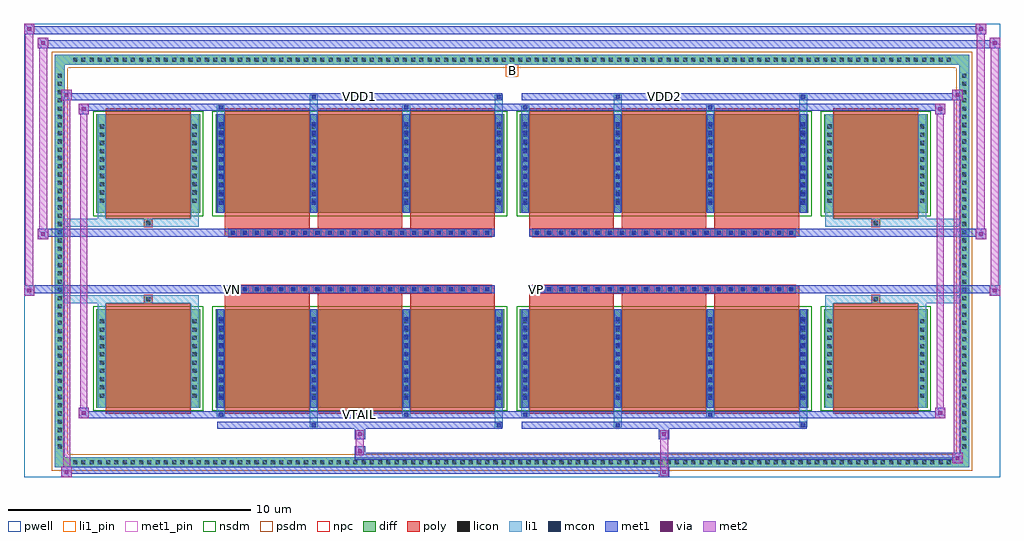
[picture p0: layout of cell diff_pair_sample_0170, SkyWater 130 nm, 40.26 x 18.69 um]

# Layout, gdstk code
import gdstk
lib = gdstk.Library(unit=1e-6, precision=5e-09)
def R(c, l, rs):  # rectangles x0, y0, x1, y1
    for r in rs: c.add(gdstk.rectangle(r[:2], r[2:], *l))
def A(c, l, x, y, w, h, nx, ny, dx, dy):  # array of equal rectangles
    R(c, l, [(x+i*dx, y+j*dy, x+i*dx+w, y+j*dy+h) for i in range(nx) for j in range(ny)])
def P(c, l, *ps):  # polygons
    for p in ps: c.add(gdstk.Polygon(p, *l))
pwell = (64, 44)
diff = (65, 20)
poly = (66, 20)
licon = (66, 44)
li1_pin = (67, 16)
li1 = (67, 20)
mcon = (67, 44)
met1_pin = (68, 16)
met1 = (68, 20)
via = (68, 44)
met2 = (69, 20)
nsdm = (93, 44)
psdm = (94, 20)
npc = (95, 20)

diff_pair_sample_0170 = lib.new_cell('diff_pair_sample_0170')
R(diff_pair_sample_0170, pwell, [(-20.13,-8.91,20.13,9.78), (-17.45,-7.1,-0.01,-0.8), (0.01,-7.1,17.45,-0.8), (-17.45,0.8,-0.01,7.1), (0.01,0.8,17.45,7.1)])
A(diff_pair_sample_0170, diff, -18.225, -8.51, 0.41, 0.41, 107, 2, 0.34, 16.61)
A(diff_pair_sample_0170, diff, -18.86, -7.855, 0.41, 0.41, 1, 46, 0, 0.34)
A(diff_pair_sample_0170, diff, 18.45, -7.855, 0.41, 0.41, 1, 46, 0, 0.34)
R(diff_pair_sample_0170, diff, [(-18.225,-8.51,18.225,-8.1), (-18.86,-7.855,-18.45,7.855), (18.45,-7.855,18.86,7.855), (-17.14,-6.055,-12.87,-1.985), (-12.23,-6.055,-0.32,-1.985), (0.32,-6.055,12.23,-1.985), (12.87,-6.055,17.14,-1.985), (-17.14,1.985,-12.87,6.055), (-12.23,1.985,-0.32,6.055), (0.32,1.985,12.23,6.055), (12.87,1.985,17.14,6.055), (-18.225,8.1,18.225,8.51)])
P(diff_pair_sample_0170, diff, [(18.86,8.51),(-18.86,8.51),(-18.86,-8.1),(-18.45,-8.1),(-18.45,8.1),(18.45,8.1),(18.45,-8.1),(-18.45,-8.1),(-18.86,-8.1),(-18.86,-8.51),(18.86,-8.51)])
A(diff_pair_sample_0170, poly, -11.84, -6.305, 3.49, 4.57, 3, 2, 3.82, 8.04)
A(diff_pair_sample_0170, poly, 0.71, -6.305, 3.49, 4.57, 3, 2, 3.82, 8.04)
A(diff_pair_sample_0170, poly, -11.84, -1.735, 3.49, 0.405, 3, 2, 3.82, 3.065)
A(diff_pair_sample_0170, poly, 0.71, -1.735, 3.49, 0.405, 3, 2, 3.82, 3.065)
A(diff_pair_sample_0170, poly, -11.69, -1.33, 0.33, 0.33, 22, 2, 0.5, 2.33)
A(diff_pair_sample_0170, poly, 0.86, -1.33, 0.33, 0.33, 22, 2, 0.5, 2.33)
R(diff_pair_sample_0170, poly, [(-16.75,-6.305,-13.26,-1.735), (13.26,-6.305,16.75,-1.735), (-15.17,-1.735,-14.84,-1.405), (-15.17,-1.735,-14.84,-1.405), (14.84,-1.735,15.17,-1.405), (14.84,-1.735,15.17,-1.405), (-11.84,-1.33,-0.71,-1), (0.71,-1.33,11.84,-1), (-11.84,1,-0.71,1.33), (0.71,1,11.84,1.33), (-15.17,1.405,-14.84,1.735), (-15.17,1.405,-14.84,1.735), (14.84,1.405,15.17,1.735), (14.84,1.405,15.17,1.735), (-16.75,1.735,-13.26,6.305), (13.26,1.735,16.75,6.305)])
A(diff_pair_sample_0170, licon, -18.105, -8.39, 0.17, 0.17, 107, 2, 0.34, 16.61)
A(diff_pair_sample_0170, licon, -18.74, -7.735, 0.17, 0.17, 1, 46, 0, 0.34)
A(diff_pair_sample_0170, licon, 18.57, -7.735, 0.17, 0.17, 1, 46, 0, 0.34)
A(diff_pair_sample_0170, licon, -17, -5.635, 0.17, 0.17, 1, 10, 0, 0.34)
A(diff_pair_sample_0170, licon, -13.18, -5.635, 0.17, 0.17, 1, 10, 0, 0.34)
A(diff_pair_sample_0170, licon, -12.09, -5.635, 0.17, 0.17, 4, 10, 3.82, 0.34)
A(diff_pair_sample_0170, licon, 0.46, -5.635, 0.17, 0.17, 4, 10, 3.82, 0.34)
A(diff_pair_sample_0170, licon, 13.01, -5.635, 0.17, 0.17, 1, 10, 0, 0.34)
A(diff_pair_sample_0170, licon, 16.83, -5.635, 0.17, 0.17, 1, 10, 0, 0.34)
A(diff_pair_sample_0170, licon, -11.61, -1.25, 0.17, 0.17, 22, 2, 0.5, 2.33)
A(diff_pair_sample_0170, licon, 0.94, -1.25, 0.17, 0.17, 22, 2, 0.5, 2.33)
A(diff_pair_sample_0170, licon, -17, 2.405, 0.17, 0.17, 1, 10, 0, 0.34)
A(diff_pair_sample_0170, licon, -13.18, 2.405, 0.17, 0.17, 1, 10, 0, 0.34)
A(diff_pair_sample_0170, licon, -12.09, 2.405, 0.17, 0.17, 4, 10, 3.82, 0.34)
A(diff_pair_sample_0170, licon, 0.46, 2.405, 0.17, 0.17, 4, 10, 3.82, 0.34)
A(diff_pair_sample_0170, licon, 13.01, 2.405, 0.17, 0.17, 1, 10, 0, 0.34)
A(diff_pair_sample_0170, licon, 16.83, 2.405, 0.17, 0.17, 1, 10, 0, 0.34)
R(diff_pair_sample_0170, licon, [(-15.09,-1.655,-14.92,-1.485), (14.92,-1.655,15.09,-1.485), (-15.09,1.485,-14.92,1.655), (14.92,1.485,15.09,1.655)])
R(diff_pair_sample_0170, li1_pin, [(-0.25,7.6,0.25,8.1)])
A(diff_pair_sample_0170, li1, -18.185, -8.47, 0.33, 0.33, 107, 2, 0.34, 16.61)
A(diff_pair_sample_0170, li1, -18.82, -7.815, 0.33, 0.33, 1, 46, 0, 0.34)
A(diff_pair_sample_0170, li1, 18.49, -7.815, 0.33, 0.33, 1, 46, 0, 0.34)
A(diff_pair_sample_0170, li1, -12.17, -6.055, 0.33, 4.07, 4, 2, 3.82, 8.04)
A(diff_pair_sample_0170, li1, 0.38, -6.055, 0.33, 4.07, 4, 2, 3.82, 8.04)
A(diff_pair_sample_0170, li1, -12.09, -5.725, 0.17, 0.17, 4, 10, 3.82, 0.36)
A(diff_pair_sample_0170, li1, -12.09, -5.725, 0.17, 3.41, 4, 2, 3.82, 8.04)
A(diff_pair_sample_0170, li1, 0.46, -5.725, 0.17, 0.17, 4, 10, 3.82, 0.36)
A(diff_pair_sample_0170, li1, 0.46, -5.725, 0.17, 3.41, 4, 2, 3.82, 8.04)
A(diff_pair_sample_0170, li1, -17.08, -5.715, 0.33, 0.33, 1, 10, 0, 0.34)
A(diff_pair_sample_0170, li1, -13.26, -5.715, 0.33, 0.33, 1, 10, 0, 0.34)
A(diff_pair_sample_0170, li1, -12.17, -5.715, 0.33, 0.33, 4, 10, 3.82, 0.34)
A(diff_pair_sample_0170, li1, 0.38, -5.715, 0.33, 0.33, 4, 10, 3.82, 0.34)
A(diff_pair_sample_0170, li1, 12.93, -5.715, 0.33, 0.33, 1, 10, 0, 0.34)
A(diff_pair_sample_0170, li1, 16.75, -5.715, 0.33, 0.33, 1, 10, 0, 0.34)
A(diff_pair_sample_0170, li1, -11.69, -1.33, 0.33, 0.33, 22, 2, 0.5, 2.33)
A(diff_pair_sample_0170, li1, 0.86, -1.33, 0.33, 0.33, 22, 2, 0.5, 2.33)
A(diff_pair_sample_0170, li1, -12.09, 2.315, 0.17, 0.17, 4, 10, 3.82, 0.36)
A(diff_pair_sample_0170, li1, 0.46, 2.315, 0.17, 0.17, 4, 10, 3.82, 0.36)
A(diff_pair_sample_0170, li1, -17.08, 2.325, 0.33, 0.33, 1, 10, 0, 0.34)
A(diff_pair_sample_0170, li1, -13.26, 2.325, 0.33, 0.33, 1, 10, 0, 0.34)
A(diff_pair_sample_0170, li1, -12.17, 2.325, 0.33, 0.33, 4, 10, 3.82, 0.34)
A(diff_pair_sample_0170, li1, 0.38, 2.325, 0.33, 0.33, 4, 10, 3.82, 0.34)
A(diff_pair_sample_0170, li1, 12.93, 2.325, 0.33, 0.33, 1, 10, 0, 0.34)
A(diff_pair_sample_0170, li1, 16.75, 2.325, 0.33, 0.33, 1, 10, 0, 0.34)
R(diff_pair_sample_0170, li1, [(-18.86,-8.51,-18.45,-8.1), (-18.86,-8.51,-18.45,-8.1), (-18.45,-8.51,18.45,-8.1), (18.45,-8.51,18.86,-8.1), (18.45,-8.51,18.86,-8.1), (-18.86,-8.1,-18.45,8.1), (18.45,-8.1,18.86,8.1), (-8.35,-6.86,-8.02,-6.055), (-8.27,-6.86,-8.1,-6.69), (-0.71,-6.86,-0.38,-6.055), (-0.63,-6.86,-0.46,-6.69), (4.2,-6.86,4.53,-6.055), (4.28,-6.86,4.45,-6.69), (11.84,-6.86,12.17,-6.055), (11.92,-6.86,12.09,-6.69), (-12.17,-6.43,-11.84,-6.055), (-12.09,-6.43,-11.92,-6.26), (-4.53,-6.43,-4.2,-6.055), (-4.45,-6.43,-4.28,-6.26), (0.38,-6.43,0.71,-6.055), (0.46,-6.43,0.63,-6.26), (8.02,-6.43,8.35,-6.055), (8.1,-6.43,8.27,-6.26), (-17.08,-6.055,-16.75,-1.985), (-13.26,-6.055,-12.93,-1.985), (12.93,-6.055,13.26,-1.985), (16.75,-6.055,17.08,-1.985), (-17.08,-1.985,-16.75,-1.405), (-13.26,-1.985,-12.93,-1.405), (12.93,-1.985,13.26,-1.405), (16.75,-1.985,17.08,-1.405), (-18.86,-1.735,-15.17,-1.405), (-17.08,-1.735,-15.17,-1.405), (-15.17,-1.735,-14.84,-1.405), (-14.84,-1.735,-12.93,-1.405), (12.93,-1.735,14.84,-1.405), (14.84,-1.735,15.17,-1.405), (14.84,-1.735,18.86,-1.405), (15.17,-1.735,17.08,-1.405), (-18.86,1.405,-15.17,1.735), (-17.08,1.405,-15.17,1.735), (-17.08,1.405,-16.75,1.985), (-15.17,1.405,-14.84,1.735), (-14.84,1.405,-12.93,1.735), (-13.26,1.405,-12.93,1.985), (12.93,1.405,14.84,1.735), (12.93,1.405,13.26,1.985), (14.84,1.405,15.17,1.735), (14.84,1.405,18.86,1.735), (15.17,1.405,17.08,1.735), (16.75,1.405,17.08,1.985), (-17.08,1.985,-16.75,6.055), (-13.26,1.985,-12.93,6.055), (12.93,1.985,13.26,6.055), (16.75,1.985,17.08,6.055), (-12.17,6.055,-11.84,6.43), (-8.35,6.055,-8.02,6.86), (-4.53,6.055,-4.2,6.43), (-0.71,6.055,-0.38,6.86), (0.38,6.055,0.71,6.43), (4.2,6.055,4.53,6.86), (8.02,6.055,8.35,6.43), (11.84,6.055,12.17,6.86), (-12.09,6.26,-11.92,6.43), (-4.45,6.26,-4.28,6.43), (0.46,6.26,0.63,6.43), (8.1,6.26,8.27,6.43), (-8.27,6.69,-8.1,6.86), (-0.63,6.69,-0.46,6.86), (4.28,6.69,4.45,6.86), (11.92,6.69,12.09,6.86), (-18.86,8.1,-18.45,8.51), (-18.86,8.1,-18.45,8.51), (-18.45,8.1,18.45,8.51), (18.45,8.1,18.86,8.51), (18.45,8.1,18.86,8.51)])
A(diff_pair_sample_0170, mcon, -12.09, -5.725, 0.17, 0.17, 4, 10, 3.82, 0.36)
A(diff_pair_sample_0170, mcon, 0.46, -5.725, 0.17, 0.17, 4, 10, 3.82, 0.36)
A(diff_pair_sample_0170, mcon, -11.61, -1.25, 0.17, 0.17, 22, 2, 0.5, 2.33)
A(diff_pair_sample_0170, mcon, 0.94, -1.25, 0.17, 0.17, 22, 2, 0.5, 2.33)
A(diff_pair_sample_0170, mcon, -12.09, 2.315, 0.17, 0.17, 4, 10, 3.82, 0.36)
A(diff_pair_sample_0170, mcon, 0.46, 2.315, 0.17, 0.17, 4, 10, 3.82, 0.36)
R(diff_pair_sample_0170, mcon, [(-8.27,-6.86,-8.1,-6.69), (-0.63,-6.86,-0.46,-6.69), (4.28,-6.86,4.45,-6.69), (11.92,-6.86,12.09,-6.69), (-12.09,-6.43,-11.92,-6.26), (-4.45,-6.43,-4.28,-6.26), (0.46,-6.43,0.63,-6.26), (8.1,-6.43,8.27,-6.26), (-12.09,6.26,-11.92,6.43), (-4.45,6.26,-4.28,6.43), (0.46,6.26,0.63,6.43), (8.1,6.26,8.27,6.43), (-8.27,6.69,-8.1,6.86), (-0.63,6.69,-0.46,6.86), (4.28,6.69,4.45,6.86), (11.92,6.69,12.09,6.86)])
R(diff_pair_sample_0170, met1_pin, [(-6.41,-6.47,-6.14,-6.2), (-11.66,-1.29,-11.39,-1.02), (0.89,-1.29,1.16,-1.02), (-6.41,6.65,-6.14,6.92), (6.14,6.65,6.41,6.92)])
A(diff_pair_sample_0170, met1, -12.15, -6.055, 0.29, 4.07, 4, 2, 3.82, 8.04)
A(diff_pair_sample_0170, met1, 0.4, -6.055, 0.29, 4.07, 4, 2, 3.82, 8.04)
A(diff_pair_sample_0170, met1, -12.15, -5.785, 0.29, 0.29, 4, 10, 3.82, 0.36)
A(diff_pair_sample_0170, met1, 0.4, -5.785, 0.29, 0.29, 4, 10, 3.82, 0.36)
A(diff_pair_sample_0170, met1, -11.67, -1.31, 0.29, 0.29, 22, 2, 0.5, 2.33)
A(diff_pair_sample_0170, met1, 0.88, -1.31, 0.29, 0.29, 22, 2, 0.5, 2.33)
A(diff_pair_sample_0170, met1, -12.15, 2.255, 0.29, 0.29, 4, 10, 3.82, 0.36)
A(diff_pair_sample_0170, met1, 0.4, 2.255, 0.29, 0.29, 4, 10, 3.82, 0.36)
R(diff_pair_sample_0170, met1, [(-18.59,-8.91,-18.16,-8.48), (6.06,-8.91,6.49,-8.48), (-18.59,-8.77,6.49,-8.48), (18.16,-8.34,18.59,-7.91), (-6.49,-8.2,18.59,-7.91), (-6.49,-8.06,-6.06,-7.63), (-6.49,-7.35,-6.06,-6.92), (6.06,-7.35,6.49,-6.92), (-12.15,-6.92,-0.4,-6.63), (-8.33,-6.92,-8.04,-6.63), (-0.69,-6.92,-0.4,-6.63), (0.4,-6.92,12.15,-6.63), (4.22,-6.92,4.51,-6.63), (11.86,-6.92,12.15,-6.63), (-17.88,-6.49,-17.45,-6.06), (-17.88,-6.49,-12.15,-6.2), (-12.15,-6.49,-11.86,-6.2), (-12.15,-6.49,-0.4,-6.2), (-4.51,-6.49,-4.22,-6.2), (-0.4,-6.49,0.4,-6.2), (0.4,-6.49,0.69,-6.2), (0.4,-6.49,12.15,-6.2), (8.04,-6.49,8.33,-6.2), (12.15,-6.49,17.88,-6.2), (17.45,-6.49,17.88,-6.06), (-20.13,-1.43,-19.7,-1), (19.7,-1.43,20.13,-1), (-20.13,-1.33,-0.71,-1), (-11.84,-1.33,-0.71,-1), (0.71,-1.33,11.84,-1), (0.71,-1.33,20.13,-1), (-19.56,0.9,-19.13,1.33), (19.13,0.9,19.56,1.33), (-19.56,1,-11.84,1.33), (-11.84,1,-0.71,1.33), (0.71,1,11.84,1.33), (11.84,1,19.56,1.33), (-17.88,6.06,-17.45,6.49), (17.45,6.06,17.88,6.49), (-17.88,6.2,-12.15,6.49), (-12.15,6.2,-11.86,6.49), (-12.15,6.2,-0.4,6.49), (-4.51,6.2,-4.22,6.49), (-0.4,6.2,0.4,6.49), (0.4,6.2,0.69,6.49), (0.4,6.2,12.15,6.49), (8.04,6.2,8.33,6.49), (12.15,6.2,17.88,6.49), (-18.59,6.63,-18.16,7.06), (-18.59,6.63,-12.15,6.92), (-12.15,6.63,-0.4,6.92), (-8.33,6.63,-8.04,6.92), (-0.69,6.63,-0.4,6.92), (0.4,6.63,12.15,6.92), (4.22,6.63,4.51,6.92), (11.86,6.63,12.15,6.92), (12.15,6.63,18.59,6.92), (18.16,6.63,18.59,7.06), (-19.56,8.78,-19.13,9.21), (-19.56,8.78,-17.45,9.11), (-17.45,8.78,17.45,9.11), (17.45,8.78,20.13,9.11), (19.7,8.78,20.13,9.21), (-20.13,9.35,-19.7,9.78), (-20.13,9.35,-17.45,9.68), (-17.45,9.35,17.45,9.68), (17.45,9.35,19.56,9.68), (19.13,9.35,19.56,9.78)])
R(diff_pair_sample_0170, via, [(-18.45,-8.77,-18.3,-8.62), (6.2,-8.77,6.35,-8.62), (18.3,-8.2,18.45,-8.05), (-6.35,-7.92,-6.2,-7.77), (-6.35,-7.21,-6.2,-7.06), (6.2,-7.21,6.35,-7.06), (-17.74,-6.35,-17.59,-6.2), (17.59,-6.35,17.74,-6.2), (-19.99,-1.29,-19.84,-1.14), (19.84,-1.29,19.99,-1.14), (-19.42,1.04,-19.27,1.19), (19.27,1.04,19.42,1.19), (-17.74,6.2,-17.59,6.35), (17.59,6.2,17.74,6.35), (-18.45,6.77,-18.3,6.92), (18.3,6.77,18.45,6.92), (-19.42,8.92,-19.27,9.07), (19.84,8.92,19.99,9.07), (-19.99,9.49,-19.84,9.64), (19.27,9.49,19.42,9.64)])
R(diff_pair_sample_0170, met2, [(-18.59,-8.91,-18.16,-8.48), (-18.52,-8.91,-18.23,7.06), (-18.23,-8.91,-18.16,-8.48), (-18.54,-8.86,-18.21,-8.53), (6.11,-8.86,6.44,-8.53), (6.11,-8.53,6.44,-7.3), (18.16,-8.34,18.59,-7.91), (18.23,-8.34,18.52,7.06), (18.52,-8.34,18.59,-7.91), (18.21,-8.29,18.54,-7.96), (-6.44,-8.01,-6.11,-7.68), (-6.44,-7.68,-6.11,-7.3), (-6.44,-7.3,-6.11,-6.97), (6.11,-7.3,6.44,-6.97), (-17.88,-6.49,-17.45,-6.06), (-17.81,-6.49,-17.52,6.49), (-17.52,-6.49,-17.45,-6.06), (17.45,-6.49,17.88,-6.06), (17.52,-6.49,17.81,6.49), (17.81,-6.49,17.88,-6.06), (-17.83,-6.44,-17.5,-6.11), (17.5,-6.44,17.83,-6.11), (-20.13,-1.43,-19.7,-1), (-20.08,-1.43,-19.75,9.78), (-19.75,-1.43,-19.7,-1), (19.7,-1.43,20.13,-1), (19.75,-1.43,20.08,9.21), (20.08,-1.43,20.13,-1), (-20.08,-1.38,-19.75,-1.05), (19.75,-1.38,20.08,-1.05), (-19.56,0.9,-19.13,1.33), (-19.51,0.9,-19.18,9.21), (-19.18,0.9,-19.13,1.33), (19.13,0.9,19.56,1.33), (19.18,0.9,19.51,9.78), (19.51,0.9,19.56,1.33), (-19.51,0.95,-19.18,1.28), (19.18,0.95,19.51,1.28), (-17.88,6.06,-17.45,6.49), (-17.52,6.06,-17.45,6.49), (17.45,6.06,17.88,6.49), (17.81,6.06,17.88,6.49), (-17.83,6.11,-17.5,6.44), (17.5,6.11,17.83,6.44), (-18.59,6.63,-18.16,7.06), (-18.23,6.63,-18.16,7.06), (18.16,6.63,18.59,7.06), (18.52,6.63,18.59,7.06), (-18.54,6.68,-18.21,7.01), (18.21,6.68,18.54,7.01), (-19.56,8.78,-19.13,9.21), (-19.18,8.78,-19.13,9.21), (19.7,8.78,20.13,9.21), (20.08,8.78,20.13,9.21), (-19.51,8.83,-19.18,9.16), (19.75,8.83,20.08,9.16), (-20.13,9.35,-19.7,9.78), (-19.75,9.35,-19.7,9.78), (19.13,9.35,19.56,9.78), (19.51,9.35,19.56,9.78), (-20.08,9.4,-19.75,9.73), (19.18,9.4,19.51,9.73)])
R(diff_pair_sample_0170, nsdm, [(-17.27,-6.185,-12.74,-1.855), (-12.36,-6.185,-0.19,-1.855), (0.19,-6.185,12.36,-1.855), (12.74,-6.185,17.27,-1.855), (-17.27,1.855,-12.74,6.185), (-12.36,1.855,-0.19,6.185), (0.19,1.855,12.36,6.185), (12.74,1.855,17.27,6.185)])
P(diff_pair_sample_0170, psdm, [(18.99,8.64),(-18.99,8.64),(-18.99,-7.97),(-18.32,-7.97),(-18.32,7.97),(18.32,7.97),(18.32,-7.97),(-18.32,-7.97),(-18.99,-7.97),(-18.99,-8.64),(18.99,-8.64)])
A(diff_pair_sample_0170, npc, -11.71, -1.35, 0.37, 0.37, 22, 2, 0.5, 2.33)
A(diff_pair_sample_0170, npc, 0.84, -1.35, 0.37, 0.37, 22, 2, 0.5, 2.33)
R(diff_pair_sample_0170, npc, [(-15.19,-1.755,-14.82,-1.385), (14.82,-1.755,15.19,-1.385), (-11.71,-1.35,-10.84,-0.98), (-11.71,-1.35,-10.84,-0.98), (-11.21,-1.35,-10.34,-0.98), (-11.21,-1.35,-10.34,-0.98), (-10.71,-1.35,-9.84,-0.98), (-10.71,-1.35,-9.84,-0.98), (-10.21,-1.35,-9.34,-0.98), (-10.21,-1.35,-9.34,-0.98), (-9.71,-1.35,-8.84,-0.98), (-9.71,-1.35,-8.84,-0.98), (-9.21,-1.35,-8.34,-0.98), (-9.21,-1.35,-8.34,-0.98), (-8.71,-1.35,-7.84,-0.98), (-8.71,-1.35,-7.84,-0.98), (-8.21,-1.35,-7.34,-0.98), (-8.21,-1.35,-7.34,-0.98), (-7.71,-1.35,-6.84,-0.98), (-7.71,-1.35,-6.84,-0.98), (-7.21,-1.35,-6.34,-0.98), (-7.21,-1.35,-6.34,-0.98), (-6.71,-1.35,-5.84,-0.98), (-6.71,-1.35,-5.84,-0.98), (-6.21,-1.35,-5.34,-0.98), (-6.21,-1.35,-5.34,-0.98), (-5.71,-1.35,-4.84,-0.98), (-5.71,-1.35,-4.84,-0.98), (-5.21,-1.35,-4.34,-0.98), (-5.21,-1.35,-4.34,-0.98), (-4.71,-1.35,-3.84,-0.98), (-4.71,-1.35,-3.84,-0.98), (-4.21,-1.35,-3.34,-0.98), (-4.21,-1.35,-3.34,-0.98), (-3.71,-1.35,-2.84,-0.98), (-3.71,-1.35,-2.84,-0.98), (-3.21,-1.35,-2.34,-0.98), (-3.21,-1.35,-2.34,-0.98), (-2.71,-1.35,-1.84,-0.98), (-2.71,-1.35,-1.84,-0.98), (-2.21,-1.35,-1.34,-0.98), (-2.21,-1.35,-1.34,-0.98), (-1.71,-1.35,-0.84,-0.98), (-1.71,-1.35,-0.84,-0.98), (0.84,-1.35,1.71,-0.98), (0.84,-1.35,1.71,-0.98), (1.34,-1.35,2.21,-0.98), (1.34,-1.35,2.21,-0.98), (1.84,-1.35,2.71,-0.98), (1.84,-1.35,2.71,-0.98), (2.34,-1.35,3.21,-0.98), (2.34,-1.35,3.21,-0.98), (2.84,-1.35,3.71,-0.98), (2.84,-1.35,3.71,-0.98), (3.34,-1.35,4.21,-0.98), (3.34,-1.35,4.21,-0.98), (3.84,-1.35,4.71,-0.98), (3.84,-1.35,4.71,-0.98), (4.34,-1.35,5.21,-0.98), (4.34,-1.35,5.21,-0.98), (4.84,-1.35,5.71,-0.98), (4.84,-1.35,5.71,-0.98), (5.34,-1.35,6.21,-0.98), (5.34,-1.35,6.21,-0.98), (5.84,-1.35,6.71,-0.98), (5.84,-1.35,6.71,-0.98), (6.34,-1.35,7.21,-0.98), (6.34,-1.35,7.21,-0.98), (6.84,-1.35,7.71,-0.98), (6.84,-1.35,7.71,-0.98), (7.34,-1.35,8.21,-0.98), (7.34,-1.35,8.21,-0.98), (7.84,-1.35,8.71,-0.98), (7.84,-1.35,8.71,-0.98), (8.34,-1.35,9.21,-0.98), (8.34,-1.35,9.21,-0.98), (8.84,-1.35,9.71,-0.98), (8.84,-1.35,9.71,-0.98), (9.34,-1.35,10.21,-0.98), (9.34,-1.35,10.21,-0.98), (9.84,-1.35,10.71,-0.98), (9.84,-1.35,10.71,-0.98), (10.34,-1.35,11.21,-0.98), (10.34,-1.35,11.21,-0.98), (10.84,-1.35,11.71,-0.98), (10.84,-1.35,11.71,-0.98), (-11.71,0.98,-10.84,1.35), (-11.71,0.98,-10.84,1.35), (-11.21,0.98,-10.34,1.35), (-11.21,0.98,-10.34,1.35), (-10.71,0.98,-9.84,1.35), (-10.71,0.98,-9.84,1.35), (-10.21,0.98,-9.34,1.35), (-10.21,0.98,-9.34,1.35), (-9.71,0.98,-8.84,1.35), (-9.71,0.98,-8.84,1.35), (-9.21,0.98,-8.34,1.35), (-9.21,0.98,-8.34,1.35), (-8.71,0.98,-7.84,1.35), (-8.71,0.98,-7.84,1.35), (-8.21,0.98,-7.34,1.35), (-8.21,0.98,-7.34,1.35), (-7.71,0.98,-6.84,1.35), (-7.71,0.98,-6.84,1.35), (-7.21,0.98,-6.34,1.35), (-7.21,0.98,-6.34,1.35), (-6.71,0.98,-5.84,1.35), (-6.71,0.98,-5.84,1.35), (-6.21,0.98,-5.34,1.35), (-6.21,0.98,-5.34,1.35), (-5.71,0.98,-4.84,1.35), (-5.71,0.98,-4.84,1.35), (-5.21,0.98,-4.34,1.35), (-5.21,0.98,-4.34,1.35), (-4.71,0.98,-3.84,1.35), (-4.71,0.98,-3.84,1.35), (-4.21,0.98,-3.34,1.35), (-4.21,0.98,-3.34,1.35), (-3.71,0.98,-2.84,1.35), (-3.71,0.98,-2.84,1.35), (-3.21,0.98,-2.34,1.35), (-3.21,0.98,-2.34,1.35), (-2.71,0.98,-1.84,1.35), (-2.71,0.98,-1.84,1.35), (-2.21,0.98,-1.34,1.35), (-2.21,0.98,-1.34,1.35), (-1.71,0.98,-0.84,1.35), (-1.71,0.98,-0.84,1.35), (0.84,0.98,1.71,1.35), (0.84,0.98,1.71,1.35), (1.34,0.98,2.21,1.35), (1.34,0.98,2.21,1.35), (1.84,0.98,2.71,1.35), (1.84,0.98,2.71,1.35), (2.34,0.98,3.21,1.35), (2.34,0.98,3.21,1.35), (2.84,0.98,3.71,1.35), (2.84,0.98,3.71,1.35), (3.34,0.98,4.21,1.35), (3.34,0.98,4.21,1.35), (3.84,0.98,4.71,1.35), (3.84,0.98,4.71,1.35), (4.34,0.98,5.21,1.35), (4.34,0.98,5.21,1.35), (4.84,0.98,5.71,1.35), (4.84,0.98,5.71,1.35), (5.34,0.98,6.21,1.35), (5.34,0.98,6.21,1.35), (5.84,0.98,6.71,1.35), (5.84,0.98,6.71,1.35), (6.34,0.98,7.21,1.35), (6.34,0.98,7.21,1.35), (6.84,0.98,7.71,1.35), (6.84,0.98,7.71,1.35), (7.34,0.98,8.21,1.35), (7.34,0.98,8.21,1.35), (7.84,0.98,8.71,1.35), (7.84,0.98,8.71,1.35), (8.34,0.98,9.21,1.35), (8.34,0.98,9.21,1.35), (8.84,0.98,9.71,1.35), (8.84,0.98,9.71,1.35), (9.34,0.98,10.21,1.35), (9.34,0.98,10.21,1.35), (9.84,0.98,10.71,1.35), (9.84,0.98,10.71,1.35), (10.34,0.98,11.21,1.35), (10.34,0.98,11.21,1.35), (10.84,0.98,11.71,1.35), (10.84,0.98,11.71,1.35), (-15.19,1.385,-14.82,1.755), (14.82,1.385,15.19,1.755)])
diff_pair_sample_0170.add(gdstk.Label('VTAIL', (-6.275,-6.335), layer=68, texttype=5))
diff_pair_sample_0170.add(gdstk.Label('VN', (-11.525,-1.155), layer=68, texttype=5))
diff_pair_sample_0170.add(gdstk.Label('VP', (1.025,-1.155), layer=68, texttype=5))
diff_pair_sample_0170.add(gdstk.Label('B', (0,7.85), layer=67, texttype=5))
diff_pair_sample_0170.add(gdstk.Label('VDD2', (6.275,6.785), layer=68, texttype=5))
diff_pair_sample_0170.add(gdstk.Label('VDD1', (-6.275,6.785), layer=68, texttype=5))

lib.write_gds('diff_pair_sample_0170.gds')
